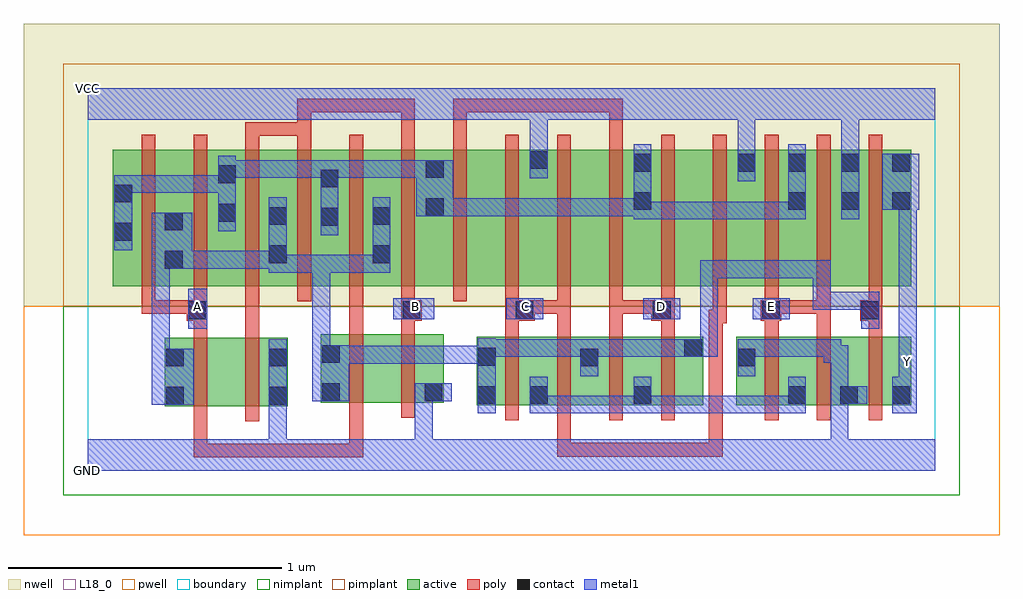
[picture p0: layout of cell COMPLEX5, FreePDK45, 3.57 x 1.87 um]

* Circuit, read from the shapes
.subckt COMPLEX5 A B C D E GND VCC Y
M1 n1 A n2 VSUBS nfet w=0.25u l=0.05u
M2 GND B n1 VSUBS nfet w=0.25u l=0.05u
M3 n3 A n2 VSUBS nfet w=0.25u l=0.05u
M4 GND B n3 VSUBS nfet w=0.25u l=0.05u
M5 n4 C n2 VSUBS nfet w=0.25u l=0.05u m=2
M6 n4 D n2 VSUBS nfet w=0.25u l=0.05u m=2
M7 n4 E GND VSUBS nfet w=0.25u l=0.05u m=2
M8 Y n2 GND VSUBS nfet w=0.25u l=0.05u
M9 n2 A n5 n6 pfet w=0.5u l=0.05u m=3
M10 n2 B n5 n6 pfet w=0.5u l=0.05u m=3
M11 n7 D n5 n6 pfet w=0.5u l=0.05u
M12 VCC C n7 n6 pfet w=0.5u l=0.05u
M13 n8 C VCC n6 pfet w=0.5u l=0.05u
M14 n5 D n8 n6 pfet w=0.5u l=0.05u
M15 n9 D n5 n6 pfet w=0.5u l=0.05u
M16 VCC C n9 n6 pfet w=0.5u l=0.05u
M17 n5 E VCC n6 pfet w=0.5u l=0.05u m=2
M18 Y n2 VCC n6 pfet w=0.5u l=0.05u
.ends

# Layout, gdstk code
import gdstk
lib = gdstk.Library(unit=1e-6, precision=1e-09)
def R(c, l, rs):  # rectangles x0, y0, x1, y1
    for r in rs: c.add(gdstk.rectangle(r[:2], r[2:], *l))
def A(c, l, x, y, w, h, nx, ny, dx, dy):  # array of equal rectangles
    R(c, l, [(x+i*dx, y+j*dy, x+i*dx+w, y+j*dy+h) for i in range(nx) for j in range(ny)])
active = (1, 0)
pwell = (2, 0)
nwell = (3, 0)
nimplant = (4, 0)
pimplant = (5, 0)
poly = (9, 0)
contact = (10, 0)
metal1 = (11, 0)
L18_0 = (18, 0)
boundary = (235, 0)

complex5 = lib.new_cell('COMPLEX5')
A(complex5, active, 1.612, 0.24, 0.26, 0.25, 3, 1, 0.38, 0)
A(complex5, active, 0.277, 0.675, 0.075, 0.395, 3, 1, 0.38, 0)
A(complex5, active, 1.232, 0.675, 0.225, 0.5, 3, 1, 0.38, 0)
A(complex5, active, 1.457, 0.675, 0.23, 0.5, 3, 1, 0.38, 0)
R(complex5, active, [(0.282,0.237,0.357,0.487), (0.282,0.237,0.507,0.487), (0.507,0.237,0.732,0.487), (0.657,0.237,0.732,0.487), (1.422,0.24,1.497,0.49), (1.422,0.24,1.687,0.49), (1.612,0.24,1.687,0.372), (1.797,0.24,2.067,0.49), (1.992,0.24,2.067,0.467), (2.557,0.24,2.822,0.49), (2.557,0.24,2.632,0.412), (2.747,0.24,2.822,0.49), (2.747,0.24,3.012,0.49), (2.937,0.24,3.012,0.49), (0.852,0.25,0.927,0.5), (0.852,0.25,1.077,0.5), (1.077,0.25,1.302,0.5), (1.227,0.25,1.302,0.5), (1.797,0.297,1.872,0.452), (2.177,0.297,2.252,0.49), (2.372,0.297,2.447,0.49), (0.092,0.675,0.167,1.175), (0.092,0.675,0.352,1.175), (0.277,0.675,0.547,1.175), (0.472,0.675,0.732,1.175), (0.657,0.675,0.922,1.175), (0.847,0.675,1.112,1.175), (0.847,0.675,0.922,1.157), (1.037,0.675,1.307,1.175), (1.232,0.675,1.307,1.175), (2.372,0.675,2.632,1.175), (2.557,0.675,2.827,1.175), (2.752,0.675,3.012,1.175), (2.937,0.675,3.012,1.175), (1.612,0.682,1.687,1.175), (0.472,0.697,0.547,1.157), (1.992,0.76,2.067,1.175), (2.557,0.762,2.632,1.175), (2.372,0.807,2.447,1.175), (2.752,0.807,2.827,1.175)])
R(complex5, pwell, [(-0.235,-0.235,3.335,0.602)])
R(complex5, nwell, [(-0.235,0.602,3.335,1.635)])
R(complex5, nimplant, [(-0.09,-0.09,3.19,0.602)])
R(complex5, pimplant, [(-0.09,0.602,3.19,1.49)])
A(complex5, poly, 1.527, 0.185, 0.05, 0.36, 4, 1, 0.19, 0)
A(complex5, poly, 2.477, 0.185, 0.05, 0.36, 3, 1, 0.19, 0)
A(complex5, poly, 2.097, 0.495, 0.05, 0.105, 3, 1, 0.38, 0)
A(complex5, poly, 1.527, 0.575, 0.05, 0.095, 4, 1, 0.19, 0)
A(complex5, poly, 2.477, 0.575, 0.05, 0.095, 3, 1, 0.19, 0)
A(complex5, poly, 0.197, 0.62, 0.05, 0.61, 15, 1, 0.19, 0)
R(complex5, poly, [(0.387,0.05,0.437,0.1), (0.387,0.05,0.437,0.1), (0.387,0.05,0.437,0.1), (0.387,0.05,0.437,0.232), (0.387,0.05,0.685,0.1), (0.635,0.05,0.685,0.1), (0.635,0.05,0.685,0.1), (0.635,0.05,0.685,0.1), (0.635,0.05,0.817,0.1), (0.767,0.05,0.817,0.1), (0.767,0.05,0.817,0.1), (0.767,0.05,0.817,0.1), (0.767,0.05,1.007,0.1), (0.957,0.05,1.007,0.1), (0.957,0.05,1.007,0.245), (1.717,0.052,1.767,0.102), (1.717,0.052,1.98,0.102), (1.717,0.052,1.767,0.235), (1.93,0.052,1.98,0.102), (1.93,0.052,1.98,0.102), (1.93,0.052,1.98,0.102), (1.93,0.052,2.19,0.102), (2.14,0.052,2.19,0.102), (2.14,0.052,2.19,0.102), (2.14,0.052,2.19,0.102), (2.14,0.052,2.322,0.102), (2.272,0.052,2.322,0.102), (2.272,0.052,2.322,0.102), (2.272,0.052,2.322,0.102), (2.272,0.052,2.322,0.59), (0.387,0.182,0.437,0.542), (0.577,0.182,0.627,0.542), (0.957,0.195,1.007,0.555), (1.147,0.195,1.197,0.555), (0.387,0.492,0.437,0.6), (0.577,0.492,0.627,0.587), (1.527,0.495,1.577,0.6), (1.717,0.495,1.767,0.625), (1.907,0.495,1.957,0.625), (2.667,0.495,2.717,0.625), (0.957,0.505,1.007,0.625), (1.147,0.505,1.197,0.6), (0.577,0.537,0.627,0.587), (0.577,0.537,0.627,0.67), (2.272,0.54,2.322,0.59), (2.272,0.54,2.322,0.59), (2.272,0.54,2.322,0.59), (2.272,0.54,2.322,0.59), (2.272,0.54,2.337,0.59), (2.287,0.54,2.337,0.67), (0.362,0.55,0.437,0.625), (1.147,0.55,1.222,0.625), (1.527,0.55,1.635,0.625), (2.062,0.55,2.147,0.625), (2.462,0.55,2.537,0.625), (2.825,0.55,2.907,0.625), (0.197,0.575,0.247,0.67), (0.197,0.575,0.247,0.625), (0.197,0.575,0.247,0.625), (0.197,0.575,0.247,0.625), (0.197,0.575,0.412,0.625), (0.387,0.575,0.437,0.67), (0.957,0.575,1.007,0.67), (0.957,0.575,1.007,0.625), (1.147,0.575,1.197,0.67), (1.585,0.575,1.635,0.625), (1.585,0.575,1.635,0.625), (1.585,0.575,1.767,0.625), (1.717,0.575,1.767,0.625), (1.907,0.575,1.957,0.625), (1.907,0.575,2.112,0.625), (2.062,0.575,2.112,0.625), (2.062,0.575,2.112,0.625), (2.487,0.575,2.717,0.625), (2.487,0.575,2.537,0.625), (2.487,0.575,2.537,0.625), (2.667,0.575,2.717,0.625), (0.577,1.18,0.627,1.275), (0.767,1.18,0.817,1.275), (1.147,1.18,1.197,1.362), (1.337,1.18,1.387,1.362), (1.907,1.18,1.957,1.362), (0.577,1.225,0.627,1.275), (0.577,1.225,0.627,1.275), (0.577,1.225,0.627,1.275), (0.577,1.225,0.817,1.275), (0.767,1.225,0.817,1.362), (0.767,1.312,0.817,1.362), (0.767,1.312,0.817,1.362), (0.767,1.312,1.065,1.362), (1.015,1.312,1.065,1.362), (1.015,1.312,1.065,1.362), (1.015,1.312,1.065,1.362), (1.015,1.312,1.197,1.362), (1.147,1.312,1.197,1.362), (1.337,1.312,1.387,1.362), (1.337,1.312,1.387,1.362), (1.337,1.312,1.387,1.362), (1.337,1.312,1.557,1.362), (1.507,1.312,1.557,1.362), (1.507,1.312,1.557,1.362), (1.507,1.312,1.557,1.362), (1.507,1.312,1.825,1.362), (1.775,1.312,1.825,1.362), (1.775,1.312,1.957,1.362), (1.907,1.312,1.957,1.362), (1.907,1.312,1.957,1.362), (1.907,1.312,1.957,1.362)])
A(complex5, contact, 2.562, 0.245, 0.065, 0.065, 3, 1, 0.19, 0)
R(complex5, contact, [(0.287,0.242,0.352,0.307), (0.662,0.242,0.727,0.307), (1.427,0.245,1.492,0.31), (1.617,0.245,1.682,0.31), (1.997,0.245,2.062,0.31), (0.857,0.255,0.922,0.32), (1.232,0.255,1.297,0.32), (0.287,0.382,0.352,0.447), (0.662,0.382,0.727,0.447), (1.802,0.382,1.867,0.447), (2.377,0.382,2.442,0.447), (1.427,0.385,1.492,0.45), (0.857,0.395,0.922,0.46), (2.182,0.417,2.247,0.482), (0.367,0.555,0.432,0.62), (1.152,0.555,1.217,0.62), (1.565,0.555,1.63,0.62), (2.067,0.555,2.132,0.62), (2.467,0.555,2.532,0.62), (2.83,0.555,2.895,0.62), (0.282,0.74,0.347,0.805), (0.662,0.76,0.727,0.825), (1.042,0.76,1.107,0.825), (0.097,0.842,0.162,0.907), (0.282,0.88,0.347,0.945), (0.852,0.897,0.917,0.962), (0.662,0.9,0.727,0.965), (1.042,0.9,1.107,0.965), (0.477,0.912,0.542,0.977), (1.237,0.932,1.302,0.997), (1.997,0.955,2.062,1.02), (2.562,0.955,2.627,1.02), (2.757,0.955,2.822,1.02), (2.942,0.955,3.007,1.02), (0.097,0.982,0.162,1.047), (0.852,1.037,0.917,1.102), (0.477,1.052,0.542,1.117), (1.237,1.072,1.302,1.137), (1.997,1.095,2.062,1.16), (2.377,1.095,2.442,1.16), (2.562,1.095,2.627,1.16), (2.757,1.095,2.822,1.16), (2.942,1.095,3.007,1.16), (1.617,1.105,1.682,1.17)])
R(complex5, metal1, [(0,0,3.1,0.115), (0.662,0.05,0.727,0.115), (0.662,0.05,0.727,0.115), (0.662,0.05,0.727,0.115), (0.662,0.05,0.727,0.115), (0.662,0.05,0.727,0.272), (1.197,0.05,1.262,0.115), (1.197,0.05,1.262,0.115), (1.197,0.05,1.262,0.115), (1.197,0.05,1.262,0.115), (1.197,0.05,1.262,0.32), (2.717,0.05,2.782,0.31), (0.662,0.207,0.727,0.482), (1.427,0.21,1.492,0.485), (1.617,0.21,1.682,0.345), (1.617,0.21,1.682,0.275), (1.617,0.21,1.682,0.275), (1.617,0.21,1.82,0.275), (1.755,0.21,1.82,0.275), (1.755,0.21,1.82,0.275), (1.755,0.21,1.82,0.275), (1.755,0.21,2.062,0.275), (1.997,0.21,2.062,0.345), (1.997,0.21,2.062,0.275), (1.997,0.21,2.062,0.275), (1.997,0.21,2.305,0.275), (2.24,0.21,2.305,0.275), (2.24,0.21,2.305,0.275), (2.24,0.21,2.305,0.275), (2.24,0.21,2.442,0.275), (2.377,0.21,2.442,0.275), (2.377,0.21,2.442,0.275), (2.377,0.21,2.442,0.275), (2.377,0.21,2.627,0.275), (2.562,0.21,2.627,0.345), (2.942,0.21,3.032,0.345), (0.235,0.242,0.387,0.447), (2.717,0.245,2.782,0.31), (2.717,0.245,2.782,0.31), (2.717,0.245,2.782,0.31), (2.717,0.245,2.782,0.31), (2.717,0.245,2.782,0.46), (2.717,0.245,2.852,0.31), (0.822,0.255,0.957,0.46), (1.197,0.255,1.332,0.32), (2.967,0.28,3.032,0.397), (2.967,0.332,3.032,0.467), (1.802,0.347,1.867,0.482), (2.377,0.347,2.442,0.482), (0.235,0.382,0.3,0.447), (0.235,0.382,0.3,0.447), (0.235,0.382,0.3,0.805), (0.892,0.392,0.957,0.457), (0.892,0.392,0.957,0.457), (0.892,0.392,1.095,0.457), (1.03,0.392,1.095,0.457), (1.03,0.392,1.095,0.457), (1.03,0.392,1.095,0.457), (1.03,0.392,1.232,0.457), (1.167,0.392,1.232,0.457), (1.167,0.392,1.232,0.457), (1.167,0.392,1.232,0.457), (1.167,0.392,1.492,0.457), (0.822,0.395,0.887,0.79), (2.692,0.395,2.782,0.46), (2.692,0.395,2.757,0.482), (2.717,0.395,2.782,0.46), (2.967,0.402,3.032,1.02), (1.427,0.417,1.492,0.482), (1.427,0.417,1.492,0.482), (1.427,0.417,1.63,0.482), (1.565,0.417,1.63,0.482), (1.565,0.417,1.63,0.482), (1.565,0.417,1.63,0.482), (1.565,0.417,1.867,0.482), (1.802,0.417,1.867,0.482), (1.802,0.417,1.867,0.482), (1.802,0.417,2.075,0.482), (2.01,0.417,2.075,0.482), (2.01,0.417,2.075,0.482), (2.01,0.417,2.075,0.482), (2.01,0.417,2.212,0.482), (2.147,0.417,2.305,0.482), (2.24,0.417,2.305,0.482), (2.24,0.417,2.305,0.482), (2.24,0.417,2.305,0.77), (2.377,0.417,2.442,0.482), (2.377,0.417,2.442,0.482), (2.377,0.417,2.58,0.482), (2.515,0.417,2.58,0.482), (2.515,0.417,2.757,0.482), (0.367,0.52,0.437,0.667), (2.83,0.52,2.895,0.655), (1.117,0.555,1.267,0.632), (1.53,0.555,1.667,0.632), (2.032,0.555,2.167,0.632), (2.432,0.555,2.567,0.632), (2.652,0.59,2.895,0.655), (2.652,0.59,2.717,0.655), (2.652,0.59,2.717,0.77), (2.24,0.705,2.305,0.77), (2.24,0.705,2.305,0.77), (2.24,0.705,2.305,0.77), (2.24,0.705,2.442,0.77), (2.377,0.705,2.442,0.77), (2.377,0.705,2.442,0.77), (2.377,0.705,2.442,0.77), (2.377,0.705,2.58,0.77), (2.515,0.705,2.58,0.77), (2.515,0.705,2.717,0.77), (2.652,0.705,2.717,0.77), (2.652,0.705,2.717,0.77), (2.652,0.705,2.717,0.77), (0.662,0.725,0.727,0.79), (0.662,0.725,0.727,0.79), (0.662,0.725,0.727,1), (0.662,0.725,0.887,0.79), (0.822,0.725,0.887,0.79), (0.822,0.725,0.887,0.79), (0.822,0.725,0.887,0.79), (0.822,0.725,0.887,0.79), (0.822,0.725,0.887,0.79), (0.822,0.725,1.107,0.79), (1.042,0.725,1.107,1), (0.235,0.74,0.382,0.945), (0.317,0.74,0.382,0.805), (0.317,0.74,0.382,0.805), (0.317,0.74,0.59,0.805), (0.525,0.74,0.59,0.805), (0.525,0.74,0.59,0.805), (0.525,0.74,0.59,0.805), (0.525,0.74,0.727,0.805), (0.097,0.807,0.162,1.082), (0.852,0.862,0.917,1.137), (0.477,0.877,0.542,1.152), (1.997,0.92,2.062,0.985), (1.997,0.92,2.062,0.985), (1.997,0.92,2.062,1.195), (1.997,0.92,2.305,0.985), (2.24,0.92,2.305,0.985), (2.24,0.92,2.305,0.985), (2.24,0.92,2.305,0.985), (2.24,0.92,2.442,0.985), (2.377,0.92,2.442,0.985), (2.377,0.92,2.442,0.985), (2.377,0.92,2.442,0.985), (2.377,0.92,2.627,0.985), (2.562,0.92,2.627,1.195), (2.757,0.92,2.822,1.195), (1.202,0.932,1.337,1.137), (1.272,0.932,1.337,0.997), (1.272,0.932,1.337,0.997), (1.272,0.932,1.492,0.997), (1.427,0.932,1.492,0.997), (1.427,0.932,1.492,0.997), (1.427,0.932,1.492,0.997), (1.427,0.932,1.63,0.997), (1.565,0.932,1.63,0.997), (1.565,0.932,1.63,0.997), (1.565,0.932,1.63,0.997), (1.565,0.932,1.82,0.997), (1.755,0.932,1.82,0.997), (1.755,0.932,1.82,0.997), (1.755,0.932,1.82,0.997), (1.755,0.932,2.062,0.997), (2.907,0.955,3.042,1.16), (0.097,1.017,0.162,1.082), (0.097,1.017,0.162,1.082), (0.097,1.017,0.405,1.082), (0.34,1.017,0.405,1.082), (0.34,1.017,0.405,1.082), (0.34,1.017,0.405,1.082), (0.34,1.017,0.542,1.082), (2.377,1.06,2.442,1.195), (1.617,1.07,1.682,1.205), (0.477,1.072,0.542,1.137), (0.477,1.072,0.542,1.137), (0.477,1.072,0.75,1.137), (0.685,1.072,0.75,1.137), (0.685,1.072,0.75,1.137), (0.685,1.072,0.75,1.137), (0.685,1.072,0.917,1.137), (0.852,1.072,1.095,1.137), (0.852,1.072,0.917,1.137), (0.852,1.072,0.917,1.137), (1.03,1.072,1.095,1.137), (1.03,1.072,1.095,1.137), (1.03,1.072,1.095,1.137), (1.03,1.072,1.267,1.137), (2.377,1.13,2.442,1.35), (2.377,1.13,2.442,1.195), (2.377,1.13,2.442,1.195), (2.757,1.13,2.822,1.35), (1.617,1.14,1.682,1.205), (1.617,1.14,1.682,1.205), (1.617,1.14,1.682,1.35), (0,1.285,3.1,1.4), (2.757,1.285,2.822,1.35), (2.757,1.285,2.822,1.35)])
R(complex5, L18_0, [(0,0,3.1,0.115), (0.662,0.05,0.727,0.115), (0.662,0.05,0.727,0.115), (0.662,0.05,0.727,0.115), (0.662,0.05,0.727,0.115), (0.662,0.05,0.727,0.272), (1.197,0.05,1.262,0.115), (1.197,0.05,1.262,0.115), (1.197,0.05,1.262,0.115), (1.197,0.05,1.262,0.115), (1.197,0.05,1.262,0.32), (2.717,0.05,2.782,0.31), (0.662,0.207,0.727,0.482), (2.942,0.21,3.032,0.345), (2.717,0.245,2.782,0.31), (2.717,0.245,2.782,0.31), (2.717,0.245,2.782,0.31), (2.717,0.245,2.782,0.31), (2.717,0.245,2.852,0.31), (2.717,0.245,2.782,0.46), (1.197,0.255,1.332,0.32), (2.967,0.28,3.032,0.397), (2.967,0.332,3.032,0.467), (2.377,0.347,2.442,0.482), (2.967,0.367,3.032,0.432), (2.692,0.395,2.757,0.482), (2.692,0.395,2.782,0.46), (2.717,0.395,2.782,0.46), (2.967,0.402,3.032,1.02), (2.377,0.417,2.442,0.482), (2.377,0.417,2.442,0.482), (2.377,0.417,2.58,0.482), (2.515,0.417,2.58,0.482), (2.515,0.417,2.757,0.482), (0.367,0.52,0.437,0.667), (1.117,0.555,1.267,0.632), (1.53,0.555,1.667,0.632), (2.032,0.555,2.167,0.632), (2.432,0.555,2.567,0.632), (0.367,0.567,0.432,0.632), (1.167,0.567,1.232,0.632), (1.567,0.567,1.632,0.632), (2.067,0.567,2.132,0.632), (2.467,0.567,2.532,0.632), (2.757,0.92,2.822,1.195), (2.907,0.955,3.042,1.16), (2.377,1.06,2.442,1.195), (1.617,1.07,1.682,1.205), (2.377,1.13,2.442,1.195), (2.377,1.13,2.442,1.195), (2.377,1.13,2.442,1.35), (2.757,1.13,2.822,1.35), (1.617,1.14,1.682,1.205), (1.617,1.14,1.682,1.205), (1.617,1.14,1.682,1.35), (0,1.285,3.1,1.4), (2.757,1.285,2.822,1.35), (2.757,1.285,2.822,1.35)])
R(complex5, boundary, [(0,0,3.1,1.4)])
complex5.add(gdstk.Label('A', (0.4,0.6), layer=11, texttype=0))
complex5.add(gdstk.Label('B', (1.2,0.6), layer=11, texttype=0))
complex5.add(gdstk.Label('C', (1.6,0.6), layer=11, texttype=0))
complex5.add(gdstk.Label('D', (2.1,0.6), layer=11, texttype=0))
complex5.add(gdstk.Label('E', (2.5,0.6), layer=11, texttype=0))
complex5.add(gdstk.Label('Y', (3,0.4), layer=11, texttype=0))
complex5.add(gdstk.Label('VCC', (0,1.4), layer=11, texttype=0))
complex5.add(gdstk.Label('GND', (0,0), layer=11, texttype=0))

lib.write_gds('COMPLEX5.gds')
